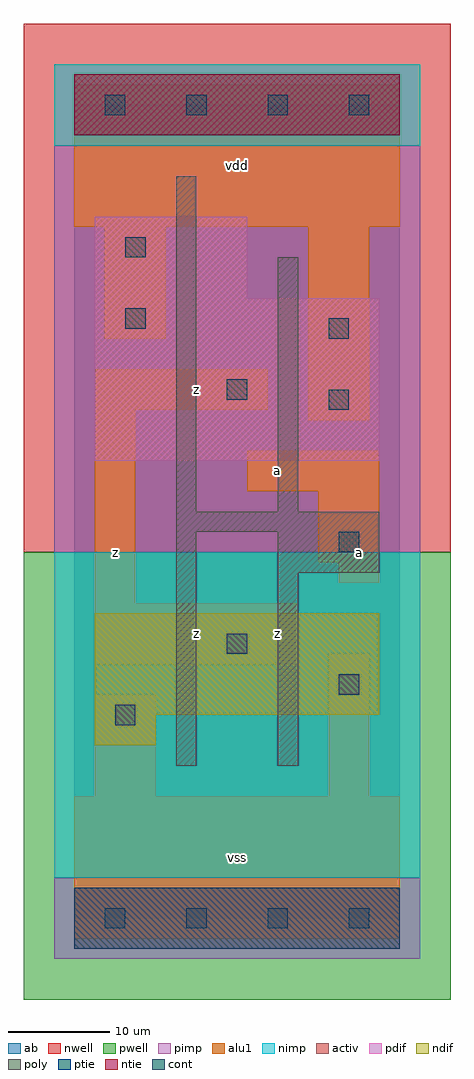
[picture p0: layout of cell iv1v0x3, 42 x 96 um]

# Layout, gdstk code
import gdstk
lib = gdstk.Library(unit=1e-6, precision=1e-09)
def R(c, l, rs):  # rectangles x0, y0, x1, y1
    for r in rs: c.add(gdstk.rectangle(r[:2], r[2:], *l))
def A(c, l, x, y, w, h, nx, ny, dx, dy):  # array of equal rectangles
    R(c, l, [(x+i*dx, y+j*dy, x+i*dx+w, y+j*dy+h) for i in range(nx) for j in range(ny)])
ndif = (3, 0)
pdif = (4, 0)
ntie = (5, 0)
ptie = (6, 0)
cont = (25, 0)
pwell = (41, 0)
nwell = (42, 0)
activ = (43, 0)
pimp = (44, 0)
nimp = (45, 0)
poly = (46, 0)
alu1 = (49, 0)
ab = (63, 0)

iv1v0x3 = lib.new_cell('iv1v0x3')
R(iv1v0x3, ndif, [(2,17,8,20), (2,20,30,30)])
R(iv1v0x3, pdif, [(2,45,30,61), (2,61,17,69)])
R(iv1v0x3, ntie, [(0,77,32,83)])
R(iv1v0x3, ptie, [(0,-3,32,3)])
A(iv1v0x3, cont, 3, -1, 2, 2, 4, 2, 8, 80)
R(iv1v0x3, cont, [(4,19,6,21), (26,22,28,24), (15,26,17,28), (26,36,28,38), (25,50,27,52), (15,51,17,53), (25,57,27,59), (5,58,7,60), (5,65,7,67)])
R(iv1v0x3, pwell, [(-5,-8,37,36)])
R(iv1v0x3, nwell, [(-5,36,37,88)])
R(iv1v0x3, activ, [(0,-3,32,3), (2,17,8,20), (2,20,30,30), (2,45,30,61), (2,61,17,69), (0,77,32,83)])
R(iv1v0x3, pimp, [(-2,-4,34,4), (-2,36,34,76)])
R(iv1v0x3, nimp, [(-2,4,34,36), (-2,76,34,84)])
R(iv1v0x3, poly, [(10,15,12,38), (20,15,22,34), (20,34,30,38), (10,38,30,40), (10,40,12,73), (20,40,22,65)])
R(iv1v0x3, alu1, [(0,-2,32,12), (2,12,8,22), (25,12,29,26), (2,25,22,31), (2,31,6,50), (26,33,30,35), (24,35,30,42), (17,42,30,46), (23,49,29,68), (2,50,19,54), (3,57,9,68), (0,68,32,82)])
R(iv1v0x3, ab, [(0,0,32,80)])
iv1v0x3.add(gdstk.Label('z', (4,36), layer=49, texttype=0))
iv1v0x3.add(gdstk.Label('z', (12,28), layer=49, texttype=0))
iv1v0x3.add(gdstk.Label('z', (12,52), layer=49, texttype=0))
iv1v0x3.add(gdstk.Label('vss', (16,6), layer=49, texttype=0))
iv1v0x3.add(gdstk.Label('z', (20,28), layer=49, texttype=0))
iv1v0x3.add(gdstk.Label('a', (20,44), layer=49, texttype=0))
iv1v0x3.add(gdstk.Label('vdd', (16,74), layer=49, texttype=0))
iv1v0x3.add(gdstk.Label('a', (28,36), layer=49, texttype=0))

lib.write_gds('iv1v0x3.gds')
